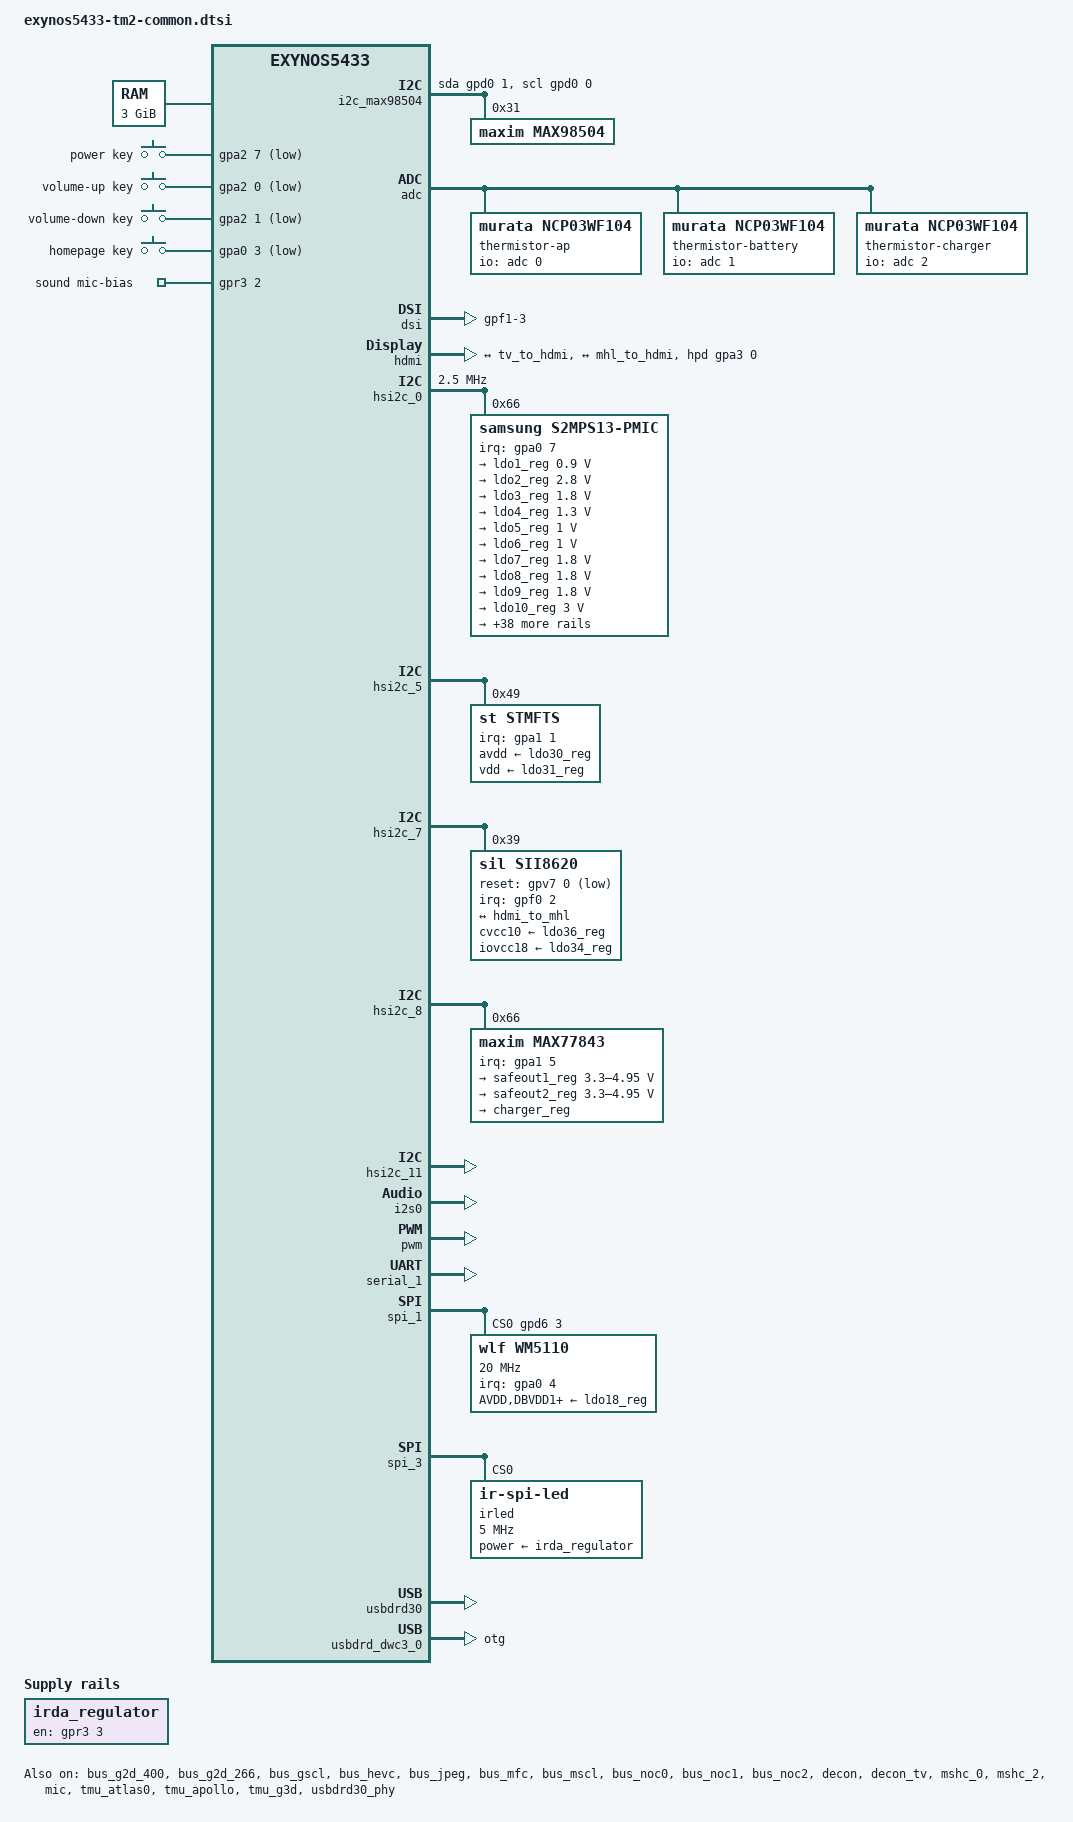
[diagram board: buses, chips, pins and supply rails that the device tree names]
/*
 * SAMSUNG Exynos5433 TM2 board device tree source
 *
 * Copyright (c) 2016 Samsung Electronics Co., Ltd.
 *
 * Common device tree source file for Samsung's TM2 and TM2E boards
 * which are based on Samsung Exynos5433 SoC.
 *
 * This program is free software; you can redistribute it and/or modify
 * it under the terms of the GNU General Public License version 2 as
 * published by the Free Software Foundation.
 */

/dts-v1/;
#include "exynos5433.dtsi"
#include <dt-bindings/clock/samsung,s2mps11.h>
#include <dt-bindings/gpio/gpio.h>
#include <dt-bindings/input/input.h>
#include <dt-bindings/interrupt-controller/irq.h>

/ {
	aliases {
		gsc0 = &gsc_0;
		gsc1 = &gsc_1;
		gsc2 = &gsc_2;
		pinctrl0 = &pinctrl_alive;
		pinctrl1 = &pinctrl_aud;
		pinctrl2 = &pinctrl_cpif;
		pinctrl3 = &pinctrl_ese;
		pinctrl4 = &pinctrl_finger;
		pinctrl5 = &pinctrl_fsys;
		pinctrl6 = &pinctrl_imem;
		pinctrl7 = &pinctrl_nfc;
		pinctrl8 = &pinctrl_peric;
		pinctrl9 = &pinctrl_touch;
		serial0 = &serial_0;
		serial1 = &serial_1;
		serial2 = &serial_2;
		serial3 = &serial_3;
		spi0 = &spi_0;
		spi1 = &spi_1;
		spi2 = &spi_2;
		spi3 = &spi_3;
		spi4 = &spi_4;
		mshc0 = &mshc_0;
		mshc2 = &mshc_2;
	};

	chosen {
		stdout-path = &serial_1;
	};

	memory@20000000 {
		device_type = "memory";
		reg = <0x0 0x20000000 0x0 0xc0000000>;
	};

	gpio-keys {
		compatible = "gpio-keys";

		power-key {
			gpios = <&gpa2 7 GPIO_ACTIVE_LOW>;
			linux,code = <KEY_POWER>;
			label = "power key";
			debounce-interval = <10>;
		};

		volume-up-key {
			gpios = <&gpa2 0 GPIO_ACTIVE_LOW>;
			linux,code = <KEY_VOLUMEUP>;
			label = "volume-up key";
			debounce-interval = <10>;
		};

		volume-down-key {
			gpios = <&gpa2 1 GPIO_ACTIVE_LOW>;
			linux,code = <KEY_VOLUMEDOWN>;
			label = "volume-down key";
			debounce-interval = <10>;
		};

		homepage-key {
			gpios = <&gpa0 3 GPIO_ACTIVE_LOW>;
			linux,code = <KEY_MENU>;
			label = "homepage key";
			debounce-interval = <10>;
		};
	};

	i2c_max98504: i2c-gpio-0 {
		compatible = "i2c-gpio";
		gpios = <&gpd0 1 GPIO_ACTIVE_HIGH /* SPK_AMP_SDA */
			 &gpd0 0 GPIO_ACTIVE_HIGH /* SPK_AMP_SCL */ >;
		i2c-gpio,delay-us = <2>;
		#address-cells = <1>;
		#size-cells = <0>;
		status = "okay";

		max98504: max98504@31 {
			compatible = "maxim,max98504";
			reg = <0x31>;
			maxim,rx-path = <1>;
			maxim,tx-path = <1>;
			maxim,tx-channel-mask = <3>;
			maxim,tx-channel-source = <2>;
		};
	};

	irda_regulator: irda-regulator {
		compatible = "regulator-fixed";
		enable-active-high;
		gpio = <&gpr3 3 GPIO_ACTIVE_HIGH>;
		regulator-name = "irda_regulator";
	};

	sound {
		compatible = "samsung,tm2-audio";
		audio-codec = <&wm5110>;
		i2s-controller = <&i2s0>;
		audio-amplifier = <&max98504>;
		mic-bias-gpios = <&gpr3 2 GPIO_ACTIVE_HIGH>;
		model = "wm5110";
		samsung,audio-routing =
			/* Headphone */
			"HP", "HPOUT1L",
			"HP", "HPOUT1R",

			/* Speaker */
			"SPK", "SPKOUT",
			"SPKOUT", "HPOUT2L",
			"SPKOUT", "HPOUT2R",

			/* Receiver */
			"RCV", "HPOUT3L",
			"RCV", "HPOUT3R";
		status = "okay";
	};
};

&adc {
	vdd-supply = <&ldo3_reg>;
	status = "okay";

	thermistor-ap {
		compatible = "murata,ncp03wf104";
		pullup-uv = <1800000>;
		pullup-ohm = <100000>;
		pulldown-ohm = <0>;
		io-channels = <&adc 0>;
	};

	thermistor-battery {
		compatible = "murata,ncp03wf104";
		pullup-uv = <1800000>;
		pullup-ohm = <100000>;
		pulldown-ohm = <0>;
		io-channels = <&adc 1>;
		#thermal-sensor-cells = <0>;
	};

	thermistor-charger {
		compatible = "murata,ncp03wf104";
		pullup-uv = <1800000>;
		pullup-ohm = <100000>;
		pulldown-ohm = <0>;
		io-channels = <&adc 2>;
	};
};

&bus_g2d_400 {
	devfreq-events = <&ppmu_event0_d0_general>, <&ppmu_event0_d1_general>;
	vdd-supply = <&buck4_reg>;
	exynos,saturation-ratio = <10>;
	status = "okay";
};

&bus_g2d_266 {
	devfreq = <&bus_g2d_400>;
	status = "okay";
};

&bus_gscl {
	devfreq = <&bus_g2d_400>;
	status = "okay";
};

&bus_hevc {
	devfreq = <&bus_g2d_400>;
	status = "okay";
};

&bus_jpeg {
	devfreq = <&bus_g2d_400>;
	status = "okay";
};

&bus_mfc {
	devfreq = <&bus_g2d_400>;
	status = "okay";
};

&bus_mscl {
	devfreq = <&bus_g2d_400>;
	status = "okay";
};

&bus_noc0 {
	devfreq = <&bus_g2d_400>;
	status = "okay";
};

&bus_noc1 {
	devfreq = <&bus_g2d_400>;
	status = "okay";
};

&bus_noc2 {
	devfreq = <&bus_g2d_400>;
	status = "okay";
};

&cmu_aud {
	assigned-clocks = <&cmu_aud CLK_MOUT_AUD_PLL_USER>;
	assigned-clock-parents = <&cmu_top CLK_FOUT_AUD_PLL>;
};

&cmu_fsys {
	assigned-clocks = <&cmu_top CLK_MOUT_SCLK_USBDRD30>,
		<&cmu_top CLK_MOUT_SCLK_USBHOST30>,
		<&cmu_fsys CLK_MOUT_SCLK_USBDRD30_USER>,
		<&cmu_fsys CLK_MOUT_SCLK_USBHOST30_USER>,
		<&cmu_fsys CLK_MOUT_PHYCLK_USBDRD30_UDRD30_PIPE_PCLK_USER>,
		<&cmu_fsys CLK_MOUT_PHYCLK_USBHOST30_UHOST30_PIPE_PCLK_USER>,
		<&cmu_fsys CLK_MOUT_PHYCLK_USBDRD30_UDRD30_PHYCLOCK_USER>,
		<&cmu_fsys CLK_MOUT_PHYCLK_USBHOST30_UHOST30_PHYCLOCK_USER>,
		<&cmu_top CLK_DIV_SCLK_USBDRD30>,
		<&cmu_top CLK_DIV_SCLK_USBHOST30>;
	assigned-clock-parents = <&cmu_top CLK_MOUT_BUS_PLL_USER>,
		<&cmu_top CLK_MOUT_BUS_PLL_USER>,
		<&cmu_top CLK_SCLK_USBDRD30_FSYS>,
		<&cmu_top CLK_SCLK_USBHOST30_FSYS>,
		<&cmu_fsys CLK_PHYCLK_USBDRD30_UDRD30_PIPE_PCLK_PHY>,
		<&cmu_fsys CLK_PHYCLK_USBHOST30_UHOST30_PIPE_PCLK_PHY>,
		<&cmu_fsys CLK_PHYCLK_USBDRD30_UDRD30_PHYCLOCK_PHY>,
		<&cmu_fsys CLK_PHYCLK_USBHOST30_UHOST30_PHYCLOCK_PHY>;
	assigned-clock-rates = <0>, <0>, <0>, <0>, <0>, <0>, <0>, <0>,
			       <66700000>, <66700000>;
};

&cmu_gscl {
	assigned-clocks = <&cmu_gscl CLK_MOUT_ACLK_GSCL_111_USER>,
			  <&cmu_gscl CLK_MOUT_ACLK_GSCL_333_USER>;
	assigned-clock-parents = <&cmu_top CLK_ACLK_GSCL_111>,
				 <&cmu_top CLK_ACLK_GSCL_333>;
};

&cmu_mfc {
	assigned-clocks = <&cmu_mfc CLK_MOUT_ACLK_MFC_400_USER>;
	assigned-clock-parents = <&cmu_top CLK_ACLK_MFC_400>;
};

&cmu_mscl {
	assigned-clocks = <&cmu_mscl CLK_MOUT_ACLK_MSCL_400_USER>,
			  <&cmu_mscl CLK_MOUT_SCLK_JPEG_USER>,
			  <&cmu_mscl CLK_MOUT_SCLK_JPEG>,
			  <&cmu_top CLK_MOUT_SCLK_JPEG_A>;
	assigned-clock-parents = <&cmu_top CLK_ACLK_MSCL_400>,
				 <&cmu_top CLK_SCLK_JPEG_MSCL>,
				 <&cmu_mscl CLK_MOUT_SCLK_JPEG_USER>,
				 <&cmu_top CLK_MOUT_BUS_PLL_USER>;
};

&cpu0 {
	cpu-supply = <&buck3_reg>;
};

&cpu4 {
	cpu-supply = <&buck2_reg>;
};

&decon {
	status = "okay";

	i80-if-timings {
	};
};

&decon_tv {
	status = "okay";

	ports {
		#address-cells = <1>;
		#size-cells = <0>;

		port@0 {
			reg = <0>;
			tv_to_hdmi: endpoint {
				remote-endpoint = <&hdmi_to_tv>;
			};
		};
	};
};

&dsi {
	status = "okay";
	vddcore-supply = <&ldo6_reg>;
	vddio-supply = <&ldo7_reg>;
	samsung,burst-clock-frequency = <512000000>;
	samsung,esc-clock-frequency = <16000000>;
	samsung,pll-clock-frequency = <24000000>;
	pinctrl-names = "default";
	pinctrl-0 = <&te_irq>;

	ports {
		#address-cells = <1>;
		#size-cells = <0>;

		port@1 {
			reg = <1>;

			dsi_out: endpoint {
				samsung,burst-clock-frequency = <512000000>;
				samsung,esc-clock-frequency = <16000000>;
			};
		};
	};
};

&hdmi {
	hpd-gpios = <&gpa3 0 GPIO_ACTIVE_HIGH>;
	status = "okay";
	vdd-supply = <&ldo6_reg>;
	vdd_osc-supply = <&ldo7_reg>;
	vdd_pll-supply = <&ldo6_reg>;

	ports {
		#address-cells = <1>;
		#size-cells = <0>;

		port@0 {
			reg = <0>;
			hdmi_to_tv: endpoint {
				remote-endpoint = <&tv_to_hdmi>;
			};
		};

		port@1 {
			reg = <1>;
			hdmi_to_mhl: endpoint {
				remote-endpoint = <&mhl_to_hdmi>;
			};
		};
	};
};

&hsi2c_0 {
	status = "okay";
	clock-frequency = <2500000>;

	s2mps13-pmic@66 {
		compatible = "samsung,s2mps13-pmic";
		interrupt-parent = <&gpa0>;
		interrupts = <7 IRQ_TYPE_NONE>;
		reg = <0x66>;
		samsung,s2mps11-wrstbi-ground;

		s2mps13_osc: clocks {
			compatible = "samsung,s2mps13-clk";
			#clock-cells = <1>;
			clock-output-names = "s2mps13_ap", "s2mps13_cp",
				"s2mps13_bt";
		};

		regulators {
			ldo1_reg: LDO1 {
				regulator-name = "VDD_ALIVE_0.9V_AP";
				regulator-min-microvolt = <900000>;
				regulator-max-microvolt = <900000>;
				regulator-always-on;
			};

			ldo2_reg: LDO2 {
				regulator-name = "VDDQ_MMC2_2.8V_AP";
				regulator-min-microvolt = <2800000>;
				regulator-max-microvolt = <2800000>;
				regulator-always-on;
				regulator-state-mem {
					regulator-off-in-suspend;
				};
			};

			ldo3_reg: LDO3 {
				regulator-name = "VDD1_E_1.8V_AP";
				regulator-min-microvolt = <1800000>;
				regulator-max-microvolt = <1800000>;
				regulator-always-on;
			};

			ldo4_reg: LDO4 {
				regulator-name = "VDD10_MIF_PLL_1.0V_AP";
				regulator-min-microvolt = <1300000>;
				regulator-max-microvolt = <1300000>;
				regulator-always-on;
				regulator-state-mem {
					regulator-off-in-suspend;
				};
			};

			ldo5_reg: LDO5 {
				regulator-name = "VDD10_DPLL_1.0V_AP";
				regulator-min-microvolt = <1000000>;
				regulator-max-microvolt = <1000000>;
				regulator-always-on;
				regulator-state-mem {
					regulator-off-in-suspend;
				};
			};

			ldo6_reg: LDO6 {
				regulator-name = "VDD10_MIPI2L_1.0V_AP";
				regulator-min-microvolt = <1000000>;
				regulator-max-microvolt = <1000000>;
				regulator-state-mem {
					regulator-off-in-suspend;
				};
			};

			ldo7_reg: LDO7 {
				regulator-name = "VDD18_MIPI2L_1.8V_AP";
				regulator-min-microvolt = <1800000>;
				regulator-max-microvolt = <1800000>;
				regulator-always-on;
				regulator-state-mem {
					regulator-off-in-suspend;
				};
			};

			ldo8_reg: LDO8 {
				regulator-name = "VDD18_LLI_1.8V_AP";
				regulator-min-microvolt = <1800000>;
				regulator-max-microvolt = <1800000>;
				regulator-always-on;
				regulator-state-mem {
					regulator-off-in-suspend;
				};
			};

			ldo9_reg: LDO9 {
				regulator-name = "VDD18_ABB_ETC_1.8V_AP";
				regulator-min-microvolt = <1800000>;
				regulator-max-microvolt = <1800000>;
				regulator-always-on;
				regulator-state-mem {
					regulator-off-in-suspend;
				};
			};

			ldo10_reg: LDO10 {
				regulator-name = "VDD33_USB30_3.0V_AP";
				regulator-min-microvolt = <3000000>;
				regulator-max-microvolt = <3000000>;
				regulator-state-mem {
					regulator-off-in-suspend;
				};
			};

			ldo11_reg: LDO11 {
				regulator-name = "VDD_INT_M_1.0V_AP";
				regulator-min-microvolt = <1000000>;
				regulator-max-microvolt = <1000000>;
				regulator-always-on;
				regulator-state-mem {
					regulator-off-in-suspend;
				};
			};

			ldo12_reg: LDO12 {
				regulator-name = "VDD_KFC_M_1.1V_AP";
				regulator-min-microvolt = <800000>;
				regulator-max-microvolt = <1350000>;
				regulator-always-on;
			};

			ldo13_reg: LDO13 {
				regulator-name = "VDD_G3D_M_0.95V_AP";
				regulator-min-microvolt = <950000>;
				regulator-max-microvolt = <950000>;
				regulator-always-on;
				regulator-state-mem {
					regulator-off-in-suspend;
				};
			};

			ldo14_reg: LDO14 {
				regulator-name = "VDDQ_M1_LDO_1.2V_AP";
				regulator-min-microvolt = <1200000>;
				regulator-max-microvolt = <1200000>;
				regulator-always-on;
				regulator-state-mem {
					regulator-off-in-suspend;
				};
			};

			ldo15_reg: LDO15 {
				regulator-name = "VDDQ_M2_LDO_1.2V_AP";
				regulator-min-microvolt = <1200000>;
				regulator-max-microvolt = <1200000>;
				regulator-always-on;
				regulator-state-mem {
					regulator-off-in-suspend;
				};
			};

			ldo16_reg: LDO16 {
				regulator-name = "VDDQ_EFUSE";
				regulator-min-microvolt = <1400000>;
				regulator-max-microvolt = <3400000>;
				regulator-always-on;
			};

			ldo17_reg: LDO17 {
				regulator-name = "V_TFLASH_2.8V_AP";
				regulator-min-microvolt = <2800000>;
				regulator-max-microvolt = <2800000>;
			};

			ldo18_reg: LDO18 {
				regulator-name = "V_CODEC_1.8V_AP";
				regulator-min-microvolt = <1800000>;
				regulator-max-microvolt = <1800000>;
			};

			ldo19_reg: LDO19 {
				regulator-name = "VDDA_1.8V_COMP";
				regulator-min-microvolt = <1800000>;
				regulator-max-microvolt = <1800000>;
				regulator-always-on;
			};

			ldo20_reg: LDO20 {
				regulator-name = "VCC_2.8V_AP";
				regulator-min-microvolt = <2800000>;
				regulator-max-microvolt = <2800000>;
				regulator-always-on;
			};

			ldo21_reg: LDO21 {
				regulator-name = "VT_CAM_1.8V";
				regulator-min-microvolt = <1800000>;
				regulator-max-microvolt = <1800000>;
			};

			ldo22_reg: LDO22 {
				regulator-name = "CAM_IO_1.8V_AP";
				regulator-min-microvolt = <1800000>;
				regulator-max-microvolt = <1800000>;
			};

			ldo23_reg: LDO23 {
				regulator-name = "CAM_SEN_CORE_1.05V_AP";
				regulator-min-microvolt = <1050000>;
				regulator-max-microvolt = <1050000>;
			};

			ldo24_reg: LDO24 {
				regulator-name = "VT_CAM_1.2V";
				regulator-min-microvolt = <1200000>;
				regulator-max-microvolt = <1200000>;
			};

			ldo25_reg: LDO25 {
				regulator-name = "UNUSED_LDO25";
				regulator-min-microvolt = <2800000>;
				regulator-max-microvolt = <2800000>;
			};

			ldo26_reg: LDO26 {
				regulator-name = "CAM_AF_2.8V_AP";
				regulator-min-microvolt = <2800000>;
				regulator-max-microvolt = <2800000>;
			};

			ldo27_reg: LDO27 {
				regulator-name = "VCC_3.0V_LCD_AP";
				regulator-min-microvolt = <3000000>;
				regulator-max-microvolt = <3000000>;
			};

			ldo28_reg: LDO28 {
				regulator-name = "VCC_1.8V_LCD_AP";
				regulator-min-microvolt = <1800000>;
				regulator-max-microvolt = <1800000>;
			};

			ldo29_reg: LDO29 {
				regulator-name = "VT_CAM_2.8V";
				regulator-min-microvolt = <3000000>;
				regulator-max-microvolt = <3000000>;
			};

			ldo30_reg: LDO30 {
				regulator-name = "TSP_AVDD_3.3V_AP";
				regulator-min-microvolt = <3300000>;
				regulator-max-microvolt = <3300000>;
			};

			ldo31_reg: LDO31 {
				/*
				 * LDO31 differs from target to target,
				 * its definition is in the .dts
				 */
			};

			ldo32_reg: LDO32 {
				regulator-name = "VTOUCH_1.8V_AP";
				regulator-min-microvolt = <1800000>;
				regulator-max-microvolt = <1800000>;
			};

			ldo33_reg: LDO33 {
				regulator-name = "VTOUCH_LED_3.3V";
				regulator-min-microvolt = <2500000>;
				regulator-max-microvolt = <3300000>;
				regulator-ramp-delay = <12500>;
			};

			ldo34_reg: LDO34 {
				regulator-name = "VCC_1.8V_MHL_AP";
				regulator-min-microvolt = <1000000>;
				regulator-max-microvolt = <2100000>;
			};

			ldo35_reg: LDO35 {
				regulator-name = "OIS_VM_2.8V";
				regulator-min-microvolt = <1800000>;
				regulator-max-microvolt = <2800000>;
			};

			ldo36_reg: LDO36 {
				regulator-name = "VSIL_1.0V";
				regulator-min-microvolt = <1000000>;
				regulator-max-microvolt = <1000000>;
			};

			ldo37_reg: LDO37 {
				regulator-name = "VF_1.8V";
				regulator-min-microvolt = <1800000>;
				regulator-max-microvolt = <1800000>;
			};

			ldo38_reg: LDO38 {
				/*
				 * LDO38 differs from target to target,
				 * its definition is in the .dts
				 */
			};

			ldo39_reg: LDO39 {
				regulator-name = "V_HRM_1.8V";
				regulator-min-microvolt = <1800000>;
				regulator-max-microvolt = <1800000>;
			};

			ldo40_reg: LDO40 {
				regulator-name = "V_HRM_3.3V";
				regulator-min-microvolt = <3300000>;
				regulator-max-microvolt = <3300000>;
			};

			buck1_reg: BUCK1 {
				regulator-name = "VDD_MIF_0.9V_AP";
				regulator-min-microvolt = <600000>;
				regulator-max-microvolt = <1500000>;
				regulator-always-on;
				regulator-state-mem {
					regulator-off-in-suspend;
				};
			};

			buck2_reg: BUCK2 {
				regulator-name = "VDD_EGL_1.0V_AP";
				regulator-min-microvolt = <900000>;
				regulator-max-microvolt = <1300000>;
				regulator-always-on;
				regulator-state-mem {
					regulator-off-in-suspend;
				};
			};

			buck3_reg: BUCK3 {
				regulator-name = "VDD_KFC_1.0V_AP";
				regulator-min-microvolt = <800000>;
				regulator-max-microvolt = <1200000>;
				regulator-always-on;
				regulator-state-mem {
					regulator-off-in-suspend;
				};
			};

			buck4_reg: BUCK4 {
				regulator-name = "VDD_INT_0.95V_AP";
				regulator-min-microvolt = <600000>;
				regulator-max-microvolt = <1500000>;
				regulator-always-on;
				regulator-state-mem {
					regulator-off-in-suspend;
				};
			};

			buck5_reg: BUCK5 {
				regulator-name = "VDD_DISP_CAM0_0.9V_AP";
				regulator-min-microvolt = <600000>;
				regulator-max-microvolt = <1500000>;
				regulator-always-on;
				regulator-state-mem {
					regulator-off-in-suspend;
				};
			};

			buck6_reg: BUCK6 {
				regulator-name = "VDD_G3D_0.9V_AP";
				regulator-min-microvolt = <600000>;
				regulator-max-microvolt = <1500000>;
				regulator-always-on;
				regulator-state-mem {
					regulator-off-in-suspend;
				};
			};

			buck7_reg: BUCK7 {
				regulator-name = "VDD_MEM1_1.2V_AP";
				regulator-min-microvolt = <1200000>;
				regulator-max-microvolt = <1200000>;
				regulator-always-on;
			};

			buck8_reg: BUCK8 {
				regulator-name = "VDD_LLDO_1.35V_AP";
				regulator-min-microvolt = <1350000>;
				regulator-max-microvolt = <3300000>;
				regulator-always-on;
			};

			buck9_reg: BUCK9 {
				regulator-name = "VDD_MLDO_2.0V_AP";
				regulator-min-microvolt = <1350000>;
				regulator-max-microvolt = <3300000>;
				regulator-always-on;
			};

			buck10_reg: BUCK10 {
				regulator-name = "vdd_mem2";
				regulator-min-microvolt = <550000>;
				regulator-max-microvolt = <1500000>;
				regulator-always-on;
			};
		};
	};
};

&hsi2c_5 {
	status = "okay";

	stmfts: touchscreen@49 {
		compatible = "st,stmfts";
		reg = <0x49>;
		interrupt-parent = <&gpa1>;
		interrupts = <1 IRQ_TYPE_LEVEL_LOW>;
		avdd-supply = <&ldo30_reg>;
		vdd-supply = <&ldo31_reg>;
	};
};

&hsi2c_7 {
	status = "okay";

	sii8620@39 {
		reg = <0x39>;
		compatible = "sil,sii8620";
		cvcc10-supply = <&ldo36_reg>;
		iovcc18-supply = <&ldo34_reg>;
		interrupt-parent = <&gpf0>;
		interrupts = <2 IRQ_TYPE_LEVEL_HIGH>;
		reset-gpios = <&gpv7 0 GPIO_ACTIVE_LOW>;
		clocks = <&pmu_system_controller 0>;
		clock-names = "xtal";

		port {
			mhl_to_hdmi: endpoint {
				remote-endpoint = <&hdmi_to_mhl>;
			};
		};
	};
};

&hsi2c_8 {
	status = "okay";

	max77843@66 {
		compatible = "maxim,max77843";
		interrupt-parent = <&gpa1>;
		interrupts = <5 IRQ_TYPE_EDGE_FALLING>;
		reg = <0x66>;

		muic: max77843-muic {
			compatible = "maxim,max77843-muic";
		};

		regulators {
			compatible = "maxim,max77843-regulator";
			safeout1_reg: SAFEOUT1 {
				regulator-name = "SAFEOUT1";
				regulator-min-microvolt = <3300000>;
				regulator-max-microvolt = <4950000>;
			};

			safeout2_reg: SAFEOUT2 {
				regulator-name = "SAFEOUT2";
				regulator-min-microvolt = <3300000>;
				regulator-max-microvolt = <4950000>;
			};

			charger_reg: CHARGER {
				regulator-name = "CHARGER";
				regulator-min-microamp = <100000>;
				regulator-max-microamp = <3150000>;
			};
		};

		haptic: max77843-haptic {
			compatible = "maxim,max77843-haptic";
			haptic-supply = <&ldo38_reg>;
			pwms = <&pwm 0 33670 0>;
			pwm-names = "haptic";
		};
	};
};

&hsi2c_11 {
	status = "okay";
};

&i2s0 {
	status = "okay";
};

&mshc_0 {
	status = "okay";
	num-slots = <1>;
	mmc-hs200-1_8v;
	mmc-hs400-1_8v;
	cap-mmc-highspeed;
	non-removable;
	card-detect-delay = <200>;
	samsung,dw-mshc-ciu-div = <3>;
	samsung,dw-mshc-sdr-timing = <0 4>;
	samsung,dw-mshc-ddr-timing = <0 2>;
	samsung,dw-mshc-hs400-timing = <0 3>;
	samsung,read-strobe-delay = <90>;
	fifo-depth = <0x80>;
	pinctrl-names = "default";
	pinctrl-0 = <&sd0_clk &sd0_cmd &sd0_qrdy &sd0_bus1 &sd0_bus4
			&sd0_bus8 &sd0_rdqs>;
	bus-width = <8>;
	assigned-clocks = <&cmu_top CLK_SCLK_MMC0_FSYS>;
	assigned-clock-rates = <800000000>;
};

&mshc_2 {
	status = "okay";
	num-slots = <1>;
	cap-sd-highspeed;
	disable-wp;
	cd-gpios = <&gpa2 4 GPIO_ACTIVE_HIGH>;
	cd-inverted;
	card-detect-delay = <200>;
	samsung,dw-mshc-ciu-div = <3>;
	samsung,dw-mshc-sdr-timing = <0 4>;
	samsung,dw-mshc-ddr-timing = <0 2>;
	fifo-depth = <0x80>;
	pinctrl-names = "default";
	pinctrl-0 = <&sd2_clk &sd2_cmd &sd2_bus1 &sd2_bus4>;
	bus-width = <4>;
};

&ppmu_d0_general {
	status = "okay";
	events {
		ppmu_event0_d0_general: ppmu-event0-d0-general {
			event-name = "ppmu-event0-d0-general";
		};
	};
};

&ppmu_d1_general {
	status = "okay";
	events {
		ppmu_event0_d1_general: ppmu-event0-d1-general {
		       event-name = "ppmu-event0-d1-general";
	       };
       };
};

&pinctrl_alive {
	pinctrl-names = "default";
	pinctrl-0 = <&initial_alive>;

	initial_alive: initial-state {
		PIN(INPUT, gpa0-0, DOWN, FAST_SR1);
		PIN(INPUT, gpa0-1, NONE, FAST_SR1);
		PIN(INPUT, gpa0-2, DOWN, FAST_SR1);
		PIN(INPUT, gpa0-3, NONE, FAST_SR1);
		PIN(INPUT, gpa0-4, NONE, FAST_SR1);
		PIN(INPUT, gpa0-5, DOWN, FAST_SR1);
		PIN(INPUT, gpa0-6, NONE, FAST_SR1);
		PIN(INPUT, gpa0-7, NONE, FAST_SR1);

		PIN(INPUT, gpa1-0, UP, FAST_SR1);
		PIN(INPUT, gpa1-1, UP, FAST_SR1);
		PIN(INPUT, gpa1-2, NONE, FAST_SR1);
		PIN(INPUT, gpa1-3, DOWN, FAST_SR1);
		PIN(INPUT, gpa1-4, DOWN, FAST_SR1);
		PIN(INPUT, gpa1-5, NONE, FAST_SR1);
		PIN(INPUT, gpa1-6, NONE, FAST_SR1);
		PIN(INPUT, gpa1-7, NONE, FAST_SR1);

		PIN(INPUT, gpa2-0, NONE, FAST_SR1);
		PIN(INPUT, gpa2-1, NONE, FAST_SR1);
		PIN(INPUT, gpa2-2, NONE, FAST_SR1);
		PIN(INPUT, gpa2-3, DOWN, FAST_SR1);
		PIN(INPUT, gpa2-4, NONE, FAST_SR1);
		PIN(INPUT, gpa2-5, DOWN, FAST_SR1);
		PIN(INPUT, gpa2-6, DOWN, FAST_SR1);
		PIN(INPUT, gpa2-7, NONE, FAST_SR1);

		PIN(INPUT, gpa3-0, DOWN, FAST_SR1);
		PIN(INPUT, gpa3-1, DOWN, FAST_SR1);
		PIN(INPUT, gpa3-2, NONE, FAST_SR1);
		PIN(INPUT, gpa3-3, DOWN, FAST_SR1);
		PIN(INPUT, gpa3-4, NONE, FAST_SR1);
		PIN(INPUT, gpa3-5, DOWN, FAST_SR1);
		PIN(INPUT, gpa3-6, DOWN, FAST_SR1);
		PIN(INPUT, gpa3-7, DOWN, FAST_SR1);

		PIN(INPUT, gpf1-0, NONE, FAST_SR1);
		PIN(INPUT, gpf1-1, NONE, FAST_SR1);
		PIN(INPUT, gpf1-2, DOWN, FAST_SR1);
		PIN(INPUT, gpf1-4, UP, FAST_SR1);
		PIN(OUTPUT, gpf1-5, NONE, FAST_SR1);
		PIN(INPUT, gpf1-6, DOWN, FAST_SR1);
		PIN(INPUT, gpf1-7, DOWN, FAST_SR1);

		PIN(INPUT, gpf2-0, DOWN, FAST_SR1);
		PIN(INPUT, gpf2-1, DOWN, FAST_SR1);
		PIN(INPUT, gpf2-2, DOWN, FAST_SR1);
		PIN(INPUT, gpf2-3, DOWN, FAST_SR1);

		PIN(INPUT, gpf3-0, DOWN, FAST_SR1);
		PIN(INPUT, gpf3-1, DOWN, FAST_SR1);
		PIN(INPUT, gpf3-2, NONE, FAST_SR1);
		PIN(INPUT, gpf3-3, DOWN, FAST_SR1);

		PIN(INPUT, gpf4-0, DOWN, FAST_SR1);
		PIN(INPUT, gpf4-1, DOWN, FAST_SR1);
		PIN(INPUT, gpf4-2, DOWN, FAST_SR1);
		PIN(INPUT, gpf4-3, DOWN, FAST_SR1);
		PIN(INPUT, gpf4-4, DOWN, FAST_SR1);
		PIN(INPUT, gpf4-5, DOWN, FAST_SR1);
		PIN(INPUT, gpf4-6, DOWN, FAST_SR1);
		PIN(INPUT, gpf4-7, DOWN, FAST_SR1);

		PIN(INPUT, gpf5-0, DOWN, FAST_SR1);
		PIN(INPUT, gpf5-1, DOWN, FAST_SR1);
		PIN(INPUT, gpf5-2, DOWN, FAST_SR1);
		PIN(INPUT, gpf5-3, DOWN, FAST_SR1);
		PIN(OUTPUT, gpf5-4, NONE, FAST_SR1);
		PIN(INPUT, gpf5-5, DOWN, FAST_SR1);
		PIN(INPUT, gpf5-6, DOWN, FAST_SR1);
		PIN(INPUT, gpf5-7, DOWN, FAST_SR1);
	};

	te_irq: te_irq {
		samsung,pins = "gpf1-3";
		samsung,pin-function = <0xf>;
	};
};

&pinctrl_cpif {
	pinctrl-names = "default";
	pinctrl-0 = <&initial_cpif>;

	initial_cpif: initial-state {
		PIN(INPUT, gpv6-0, DOWN, FAST_SR1);
		PIN(INPUT, gpv6-1, DOWN, FAST_SR1);
	};
};

&pinctrl_ese {
	pinctrl-names = "default";
	pinctrl-0 = <&initial_ese>;

	initial_ese: initial-state {
		PIN(INPUT, gpj2-0, DOWN, FAST_SR1);
		PIN(INPUT, gpj2-1, DOWN, FAST_SR1);
		PIN(INPUT, gpj2-2, DOWN, FAST_SR1);
	};
};

&pinctrl_fsys {
	pinctrl-names = "default";
	pinctrl-0 = <&initial_fsys>;

	initial_fsys: initial-state {
		PIN(INPUT, gpr3-0, NONE, FAST_SR1);
		PIN(INPUT, gpr3-1, DOWN, FAST_SR1);
		PIN(INPUT, gpr3-2, DOWN, FAST_SR1);
		PIN(INPUT, gpr3-3, DOWN, FAST_SR1);
		PIN(INPUT, gpr3-7, NONE, FAST_SR1);
	};
};

&pinctrl_imem {
	pinctrl-names = "default";
	pinctrl-0 = <&initial_imem>;

	initial_imem: initial-state {
		PIN(INPUT, gpf0-0, UP, FAST_SR1);
		PIN(INPUT, gpf0-1, UP, FAST_SR1);
		PIN(INPUT, gpf0-2, DOWN, FAST_SR1);
		PIN(INPUT, gpf0-3, UP, FAST_SR1);
		PIN(INPUT, gpf0-4, DOWN, FAST_SR1);
		PIN(INPUT, gpf0-5, NONE, FAST_SR1);
		PIN(INPUT, gpf0-6, DOWN, FAST_SR1);
		PIN(INPUT, gpf0-7, UP, FAST_SR1);
	};
};

&pinctrl_nfc {
	pinctrl-names = "default";
	pinctrl-0 = <&initial_nfc>;

	initial_nfc: initial-state {
		PIN(INPUT, gpj0-2, DOWN, FAST_SR1);
	};
};

&pinctrl_peric {
	pinctrl-names = "default";
	pinctrl-0 = <&initial_peric>;

	initial_peric: initial-state {
		PIN(INPUT, gpv7-0, DOWN, FAST_SR1);
		PIN(INPUT, gpv7-1, DOWN, FAST_SR1);
		PIN(INPUT, gpv7-2, NONE, FAST_SR1);
		PIN(INPUT, gpv7-3, DOWN, FAST_SR1);
		PIN(INPUT, gpv7-4, DOWN, FAST_SR1);
		PIN(INPUT, gpv7-5, DOWN, FAST_SR1);

		PIN(INPUT, gpb0-4, DOWN, FAST_SR1);

		PIN(INPUT, gpc0-2, DOWN, FAST_SR1);
		PIN(INPUT, gpc0-5, DOWN, FAST_SR1);
		PIN(INPUT, gpc0-7, DOWN, FAST_SR1);

		PIN(INPUT, gpc1-1, DOWN, FAST_SR1);

		PIN(INPUT, gpc3-4, NONE, FAST_SR1);
		PIN(INPUT, gpc3-5, NONE, FAST_SR1);
		PIN(INPUT, gpc3-6, NONE, FAST_SR1);
		PIN(INPUT, gpc3-7, NONE, FAST_SR1);

		PIN(OUTPUT, gpg0-0, NONE, FAST_SR1);
		PIN(2, gpg0-1, DOWN, FAST_SR1);

		PIN(INPUT, gpd2-5, DOWN, FAST_SR1);

		PIN(INPUT, gpd4-0, NONE, FAST_SR1);
		PIN(INPUT, gpd4-1, DOWN, FAST_SR1);
		PIN(INPUT, gpd4-2, DOWN, FAST_SR1);
		PIN(INPUT, gpd4-3, DOWN, FAST_SR1);
		PIN(INPUT, gpd4-4, DOWN, FAST_SR1);

		PIN(INPUT, gpd6-3, DOWN, FAST_SR1);

		PIN(INPUT, gpd8-1, UP, FAST_SR1);

		PIN(INPUT, gpg1-0, DOWN, FAST_SR1);
		PIN(INPUT, gpg1-1, DOWN, FAST_SR1);
		PIN(INPUT, gpg1-2, DOWN, FAST_SR1);
		PIN(INPUT, gpg1-3, DOWN, FAST_SR1);
		PIN(INPUT, gpg1-4, DOWN, FAST_SR1);

		PIN(INPUT, gpg2-0, DOWN, FAST_SR1);
		PIN(INPUT, gpg2-1, DOWN, FAST_SR1);

		PIN(INPUT, gpg3-0, DOWN, FAST_SR1);
		PIN(INPUT, gpg3-1, DOWN, FAST_SR1);
		PIN(INPUT, gpg3-5, DOWN, FAST_SR1);
	};
};

&pinctrl_touch {
	pinctrl-names = "default";
	pinctrl-0 = <&initial_touch>;

	initial_touch: initial-state {
		PIN(INPUT, gpj1-2, DOWN, FAST_SR1);
	};
};

&pwm {
	pinctrl-0 = <&pwm0_out>;
	pinctrl-names = "default";
	status = "okay";
};

&mic {
	status = "okay";

	i80-if-timings {
	};
};

&pmu_system_controller {
	assigned-clocks = <&pmu_system_controller 0>;
	assigned-clock-parents = <&xxti>;
};

&serial_1 {
	status = "okay";
};

&spi_1 {
	cs-gpios = <&gpd6 3 GPIO_ACTIVE_HIGH>;
	status = "okay";

	wm5110: wm5110-codec@0 {
		compatible = "wlf,wm5110";
		reg = <0x0>;
		spi-max-frequency = <20000000>;
		interrupt-parent = <&gpa0>;
		interrupts = <4 IRQ_TYPE_NONE>;
		clocks = <&pmu_system_controller 0>,
			<&s2mps13_osc S2MPS11_CLK_BT>;
		clock-names = "mclk1", "mclk2";

		gpio-controller;
		#gpio-cells = <2>;

		wlf,micd-detect-debounce = <300>;
		wlf,micd-bias-start-time = <0x1>;
		wlf,micd-rate = <0x7>;
		wlf,micd-dbtime = <0x1>;
		wlf,micd-force-micbias;
		wlf,micd-configs = <0x0 1 0>;
		wlf,hpdet-channel = <1>;
		wlf,gpsw = <0x1>;
		wlf,inmode = <2 0 2 0>;

		wlf,reset = <&gpc0 7 GPIO_ACTIVE_HIGH>;
		wlf,ldoena = <&gpf0 0 GPIO_ACTIVE_HIGH>;

		/* core supplies */
		AVDD-supply = <&ldo18_reg>;
		DBVDD1-supply = <&ldo18_reg>;
		CPVDD-supply = <&ldo18_reg>;
		DBVDD2-supply = <&ldo18_reg>;
		DBVDD3-supply = <&ldo18_reg>;

		controller-data {
			samsung,spi-feedback-delay = <0>;
		};
	};
};

&spi_3 {
	status = "okay";
	no-cs-readback;

	irled@0 {
		compatible = "ir-spi-led";
		reg = <0x0>;
		spi-max-frequency = <5000000>;
		power-supply = <&irda_regulator>;
		duty-cycle = <60>;
		led-active-low;

		controller-data {
			samsung,spi-feedback-delay = <0>;
		};
	};
};

&timer {
	clock-frequency = <24000000>;
};

&tmu_atlas0 {
	vtmu-supply = <&ldo3_reg>;
	status = "okay";
};

&tmu_apollo {
	vtmu-supply = <&ldo3_reg>;
	status = "okay";
};

&tmu_g3d {
	vtmu-supply = <&ldo3_reg>;
	status = "okay";
};

&usbdrd30 {
	vdd33-supply = <&ldo10_reg>;
	vdd10-supply = <&ldo6_reg>;
	status = "okay";
};

&usbdrd_dwc3_0 {
	dr_mode = "otg";
};

&usbdrd30_phy {
	vbus-supply = <&safeout1_reg>;
	status = "okay";
};

&xxti {
	clock-frequency = <24000000>;
};
